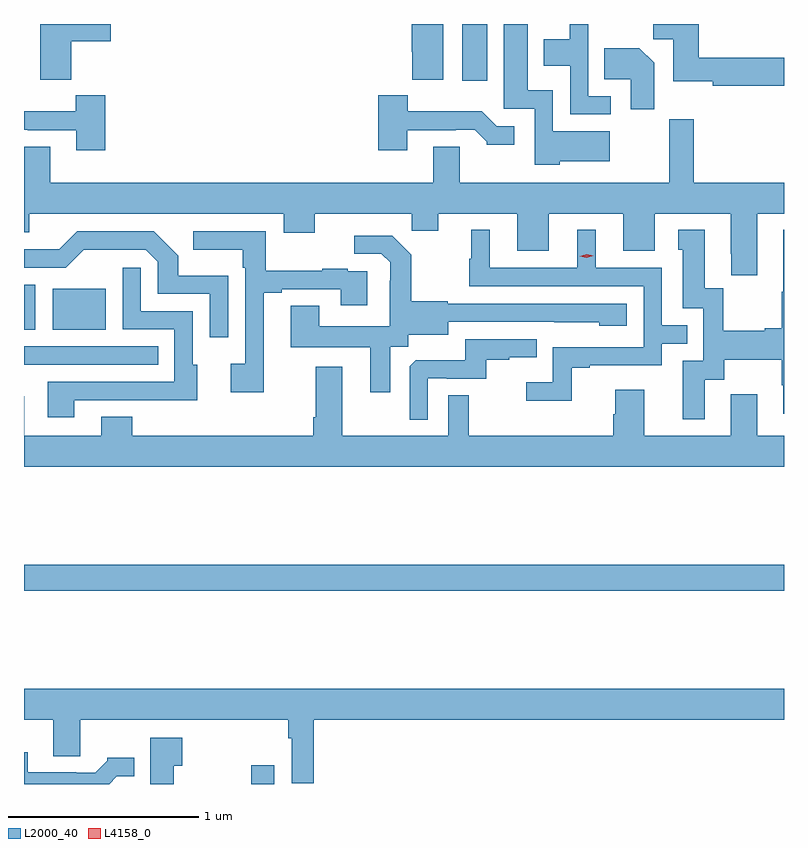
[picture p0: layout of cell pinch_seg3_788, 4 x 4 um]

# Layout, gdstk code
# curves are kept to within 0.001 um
import gdstk
lib = gdstk.Library(unit=1e-6, precision=1e-09)
def R(c, l, rs):  # rectangles x0, y0, x1, y1
    for r in rs: c.add(gdstk.rectangle(r[:2], r[2:], *l))
def P(c, l, *ps):  # polygons
    for p in ps: c.add(gdstk.Polygon(p, *l))
L2000_40 = (2000, 40)
L4158_0 = (4158, 0)

pinch_seg3_788 = lib.new_cell('pinch_seg3_788')
R(pinch_seg3_788, L2000_40, [(770.09,708.571,770.212,708.67), (768.894,709.588,772.894,709.724), (768.894,710.963,768.952,711.199), (769.046,710.963,769.324,711.178), (771.2,712.272,771.331,712.571)])
P(pinch_seg3_788, L2000_40, [(771.714,711.848),(771.976,711.848),(771.976,712.006),(771.678,712.006),(771.678,712.222),(771.544,712.222),(771.544,712.571),(771.419,712.571),(771.419,712.125),(771.582,712.125),(771.582,711.83),(771.714,711.83)],
  [(769.142,712.481),(769.351,712.481),(769.351,712.571),(768.98,712.571),(768.98,712.277),(769.142,712.277)],
  [(771.1,712.571),(770.936,712.571),(770.936,712.425),(770.938,712.425),(770.938,712.277),(771.1,712.277)],
  [(772.894,712.394),(772.445,712.394),(772.445,712.571),(772.205,712.571),(772.205,712.492),(772.31,712.492),(772.31,712.271),(772.518,712.271),(772.518,712.247),(772.894,712.247)],
  [(771.982,712.191),(771.864,712.191),(771.864,712.571),(771.766,712.571),(771.766,712.492),(771.629,712.492),(771.629,712.352),(771.768,712.352),(771.768,712.095),(771.982,712.095)],
  [(772.21,712.366),(772.132,712.444),(771.949,712.444),(771.949,712.28),(772.088,712.28),(772.088,712.122),(772.21,712.122)],
  [(769.322,712.195),(769.167,712.195),(769.167,712.111),(768.894,712.111),(768.894,712.014),(768.913,712.014),(768.913,712.011),(769.169,712.011),(769.169,711.906),(769.322,711.906)],
  [(770.911,712.011),(771.167,712.011),(771.167,712.014),(771.266,712.014),(771.33,711.95),(771.33,711.935),(771.475,711.935),(771.475,712.032),(771.381,712.032),(771.303,712.111),(770.914,712.111),(770.914,712.195),(770.759,712.195),(770.759,711.906),(770.911,711.906)],
  [(772.753,711.572),(772.894,711.572),(772.894,711.736),(772.418,711.736),(772.418,712.069),(772.29,712.069),(772.29,711.736),(771.187,711.736),(771.187,711.926),(771.047,711.926),(771.047,711.736),(769.033,711.736),(769.033,711.926),(768.894,711.926),(768.894,711.474),(768.922,711.474),(768.922,711.572),(770.261,711.572),(770.261,711.473),(770.425,711.473),(770.425,711.572),(770.935,711.572),(770.935,711.482),(771.073,711.482),(771.073,711.572),(771.491,711.572),(771.491,711.378),(771.655,711.378),(771.655,711.572),(772.049,711.572),(772.049,711.378),(772.213,711.378),(772.213,711.572),(772.613,711.572),(772.613,711.361),(772.616,711.361),(772.616,711.249),(772.753,711.249)],
  [(772.477,710.698),(772.579,710.698),(772.579,710.804),(772.882,710.804),(772.882,710.67),(772.889,710.67),(772.889,710.52),(772.894,710.52),(772.894,711.487),(772.889,711.487),(772.889,711.161),(772.882,711.161),(772.882,710.969),(772.793,710.969),(772.793,710.956),(772.575,710.956),(772.575,711.179),(772.477,711.179),(772.477,711.487),(772.337,711.487),(772.337,711.384),(772.361,711.384),(772.361,711.075),(772.47,711.075),(772.47,710.799),(772.361,710.799),(772.361,710.49),(772.477,710.49)],
  [(771.777,710.763),(771.871,710.763),(771.871,710.775),(772.251,710.775),(772.251,710.889),(772.385,710.889),(772.385,710.985),(772.251,710.985),(772.251,711.288),(771.904,711.288),(771.904,711.487),(771.806,711.487),(771.806,711.288),(771.346,711.288),(771.346,711.487),(771.248,711.487),(771.248,711.336),(771.237,711.336),(771.237,711.192),(772.155,711.192),(772.155,710.871),(771.678,710.871),(771.678,710.686),(771.537,710.686),(771.537,710.588),(771.777,710.588)],
  [(769.968,711.247),(769.707,711.247),(769.707,711.35),(769.576,711.48),(769.173,711.48),(769.079,711.386),(768.894,711.386),(768.894,711.288),(769.113,711.288),(769.208,711.383),(769.536,711.384),(769.599,711.321),(769.599,711.15),(769.872,711.15),(769.872,710.922),(769.968,710.922)],
  [(770.155,711.156),(770.251,711.156),(770.251,711.174),(770.561,711.174),(770.561,711.09),(770.701,711.09),(770.701,711.27),(770.597,711.27),(770.597,711.283),(770.465,711.283),(770.465,711.272),(770.167,711.272),(770.167,711.48),(769.785,711.48),(769.785,711.383),(770.046,711.383),(770.046,711.287),(770.058,711.287),(770.058,710.782),(769.983,710.782),(769.983,710.634),(770.155,710.634)],
  [(770.821,710.872),(770.916,710.872),(770.916,710.936),(771.127,710.936),(771.127,711.003),(771.921,711.002),(771.921,710.984),(772.066,710.984),(772.066,711.099),(771.123,711.099),(771.123,711.112),(770.931,711.112),(770.931,711.357),(770.831,711.457),(770.631,711.457),(770.631,711.363),(770.775,711.363),(770.822,711.316),(770.822,711.221),(770.82,711.221),(770.82,710.98),(770.449,710.98),(770.449,711.089),(770.297,711.089),(770.297,710.87),(770.717,710.87),(770.717,710.634),(770.821,710.634)],
  [(769.159,710.592),(769.589,710.592),(769.589,710.591),(769.807,710.591),(769.807,710.778),(769.782,710.778),(769.782,711.06),(769.509,711.06),(769.509,711.289),(769.413,711.289),(769.413,710.964),(769.686,710.964),(769.686,710.688),(769.019,710.688),(769.019,710.502),(769.159,710.502)],
  [(771.018,710.706),(771.118,710.706),(771.118,710.703),(771.326,710.703),(771.326,710.805),(771.449,710.805),(771.449,710.816),(771.593,710.816),(771.593,710.913),(771.216,710.913),(771.216,710.801),(770.957,710.801),(770.925,710.769),(770.925,710.489),(771.018,710.489)],
  [(768.923,710.778),(769.601,710.778),(769.601,710.874),(768.894,710.874),(768.894,710.777),(768.923,710.777)],
  [(772.894,710.404),(772.753,710.404),(772.753,710.623),(772.613,710.623),(772.613,710.404),(772.159,710.404),(772.159,710.647),(772.007,710.647),(772.007,710.517),(771.995,710.517),(771.995,710.404),(771.235,710.404),(771.235,710.618),(771.126,710.618),(771.126,710.404),(770.569,710.404),(770.569,710.767),(770.429,710.767),(770.429,710.5),(770.417,710.5),(770.417,710.404),(769.465,710.404),(769.465,710.503),(769.301,710.503),(769.301,710.404),(768.895,710.404),(768.895,710.611),(768.894,710.611),(768.894,710.24),(772.894,710.24)],
  [(770.42,708.908),(772.894,708.908),(772.894,709.072),(768.894,709.072),(768.894,708.908),(769.049,708.908),(769.049,708.718),(769.189,708.718),(769.189,708.908),(770.284,708.908),(770.284,708.812),(770.304,708.812),(770.304,708.576),(770.42,708.576)],
  [(769.681,708.667),(769.728,708.667),(769.728,708.814),(769.559,708.814),(769.559,708.571),(769.681,708.571)],
  [(769.383,708.612),(769.474,708.612),(769.474,708.709),(769.332,708.709),(769.332,708.694),(769.268,708.63),(769.169,708.63),(769.169,708.633),(768.913,708.633),(768.913,708.739),(768.894,708.739),(768.894,708.571),(769.342,708.571)])
P(pinch_seg3_788, L4158_0, [(771.855,711.34),(771.819,711.349),(771.819,711.349),(771.819,711.349),(771.855,711.36),(771.891,711.351),(771.891,711.351),(771.891,711.35)])

lib.write_gds('pinch_seg3_788.gds')
